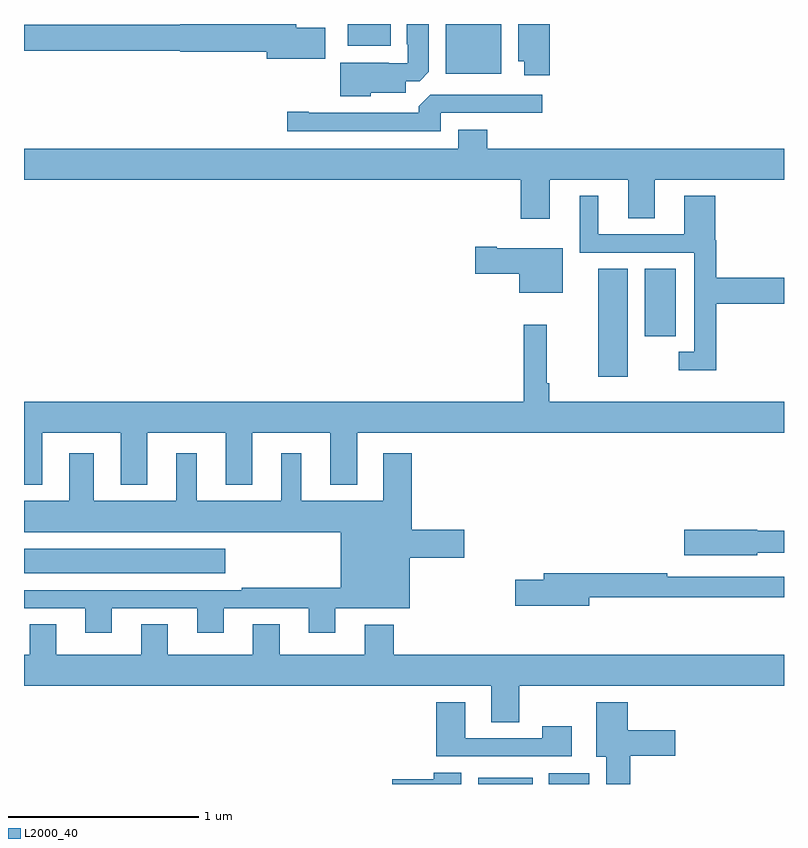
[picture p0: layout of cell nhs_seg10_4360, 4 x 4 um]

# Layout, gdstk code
import gdstk
lib = gdstk.Library(unit=1e-6, precision=1e-09)
def R(c, l, rs):  # rectangles x0, y0, x1, y1
    for r in rs: c.add(gdstk.rectangle(r[:2], r[2:], *l))
def P(c, l, *ps):  # polygons
    for p in ps: c.add(gdstk.Polygon(p, *l))
L2000_40 = (2000, 40)

nhs_seg10_4360 = lib.new_cell('nhs_seg10_4360')
R(nhs_seg10_4360, L2000_40, [(359.39,1266.5,359.677,1266.532), (359.762,1266.5,359.974,1266.556), (357,1267.61,358.06,1267.738), (360.023,1268.643,360.178,1269.212), (360.266,1268.856,360.43,1269.212), (359.219,1270.238,359.512,1270.5), (358.703,1270.385,358.93,1270.5)])
P(nhs_seg10_4360, L2000_40, [(359.768,1270.5),(359.6,1270.5),(359.6,1270.304),(359.633,1270.304),(359.633,1270.23),(359.768,1270.23)],
  [(358.585,1270.479),(358.432,1270.479),(358.432,1270.5),(357.822,1270.5),(357.822,1270.496),(357,1270.496),(357,1270.36),(357.822,1270.36),(357.822,1270.355),(358.277,1270.355),(358.277,1270.316),(358.585,1270.316)],
  [(358.824,1270.139),(359.008,1270.139),(359.008,1270.2),(359.082,1270.2),(359.131,1270.249),(359.131,1270.5),(359.015,1270.5),(359.015,1270.393),(359.019,1270.393),(359.019,1270.293),(358.919,1270.293),(358.919,1270.297),(358.664,1270.297),(358.664,1270.121),(358.824,1270.121)],
  [(359.193,1270.032),(359.728,1270.032),(359.728,1270.128),(359.139,1270.128),(359.078,1270.066),(359.078,1270.032),(358.498,1270.032),(358.498,1270.037),(358.386,1270.037),(358.386,1269.936),(359.193,1269.936)],
  [(359.767,1269.68),(360.179,1269.68),(360.179,1269.478),(360.319,1269.478),(360.319,1269.68),(361,1269.68),(361,1269.844),(359.438,1269.844),(359.438,1269.943),(359.285,1269.943),(359.285,1269.844),(357,1269.844),(357,1269.68),(359.615,1269.68),(359.615,1269.474),(359.767,1269.474)],
  [(360.644,1269.028),(361,1269.028),(361,1269.164),(360.644,1269.164),(360.644,1269.362),(360.638,1269.362),(360.638,1269.595),(360.476,1269.595),(360.476,1269.393),(360.022,1269.393),(360.022,1269.595),(359.924,1269.595),(359.924,1269.297),(360.528,1269.297),(360.528,1268.775),(360.447,1268.775),(360.447,1268.678),(360.644,1268.678)],
  [(359.836,1269.319),(359.488,1269.319),(359.488,1269.327),(359.376,1269.327),(359.376,1269.185),(359.606,1269.185),(359.606,1269.086),(359.836,1269.086)],
  [(357,1268.075),(357.097,1268.075),(357.097,1268.348),(357.509,1268.348),(357.509,1268.075),(357.649,1268.075),(357.649,1268.348),(358.061,1268.348),(358.061,1268.075),(358.201,1268.075),(358.201,1268.348),(358.613,1268.348),(358.613,1268.075),(358.753,1268.075),(358.753,1268.348),(361,1268.348),(361,1268.512),(359.765,1268.512),(359.765,1268.608),(359.75,1268.608),(359.75,1268.917),(359.629,1268.917),(359.629,1268.512),(357,1268.512)],
  [(357.463,1267.425),(357.911,1267.425),(357.911,1267.296),(358.051,1267.296),(358.051,1267.425),(358.499,1267.425),(358.499,1267.296),(358.639,1267.296),(358.639,1267.424),(359.029,1267.424),(359.029,1267.691),(359.317,1267.691),(359.317,1267.838),(359.042,1267.838),(359.042,1268.242),(358.892,1268.242),(358.892,1267.99),(358.459,1267.99),(358.459,1268.242),(358.355,1268.242),(358.355,1267.99),(357.91,1267.99),(357.91,1268.242),(357.8,1268.242),(357.8,1267.99),(357.367,1267.99),(357.367,1268.242),(357.239,1268.242),(357.239,1267.99),(357,1267.99),(357,1267.826),(358.667,1267.826),(358.667,1267.534),(358.147,1267.534),(358.147,1267.521),(357,1267.521),(357,1267.425),(357.323,1267.425),(357.323,1267.296),(357.463,1267.296)],
  [(360.858,1267.716),(361,1267.716),(361,1267.832),(360.858,1267.832),(360.858,1267.838),(360.474,1267.838),(360.474,1267.703),(360.858,1267.703)],
  [(359.974,1267.482),(361,1267.482),(361,1267.59),(360.386,1267.59),(360.386,1267.61),(359.735,1267.61),(359.735,1267.574),(359.586,1267.574),(359.586,1267.439),(359.974,1267.439)],
  [(359.607,1267.016),(361,1267.016),(361,1267.18),(358.946,1267.18),(358.946,1267.339),(358.793,1267.339),(358.793,1267.18),(358.345,1267.18),(358.345,1267.34),(358.205,1267.34),(358.205,1267.18),(357.757,1267.18),(357.757,1267.34),(357.617,1267.34),(357.617,1267.18),(357.169,1267.18),(357.169,1267.34),(357.029,1267.34),(357.029,1267.18),(357,1267.18),(357,1267.016),(359.459,1267.016),(359.459,1266.826),(359.607,1266.826)],
  [(359.884,1266.805),(359.728,1266.805),(359.728,1266.741),(359.323,1266.741),(359.323,1266.931),(359.171,1266.931),(359.171,1266.645),(359.884,1266.645)],
  [(360.191,1266.65),(360.427,1266.65),(360.427,1266.784),(360.178,1266.784),(360.178,1266.931),(360.011,1266.931),(360.011,1266.644),(360.065,1266.644),(360.065,1266.5),(360.191,1266.5)],
  [(359.302,1266.56),(359.156,1266.56),(359.156,1266.524),(358.938,1266.524),(358.938,1266.5),(359.302,1266.5)])

lib.write_gds('nhs_seg10_4360.gds')
